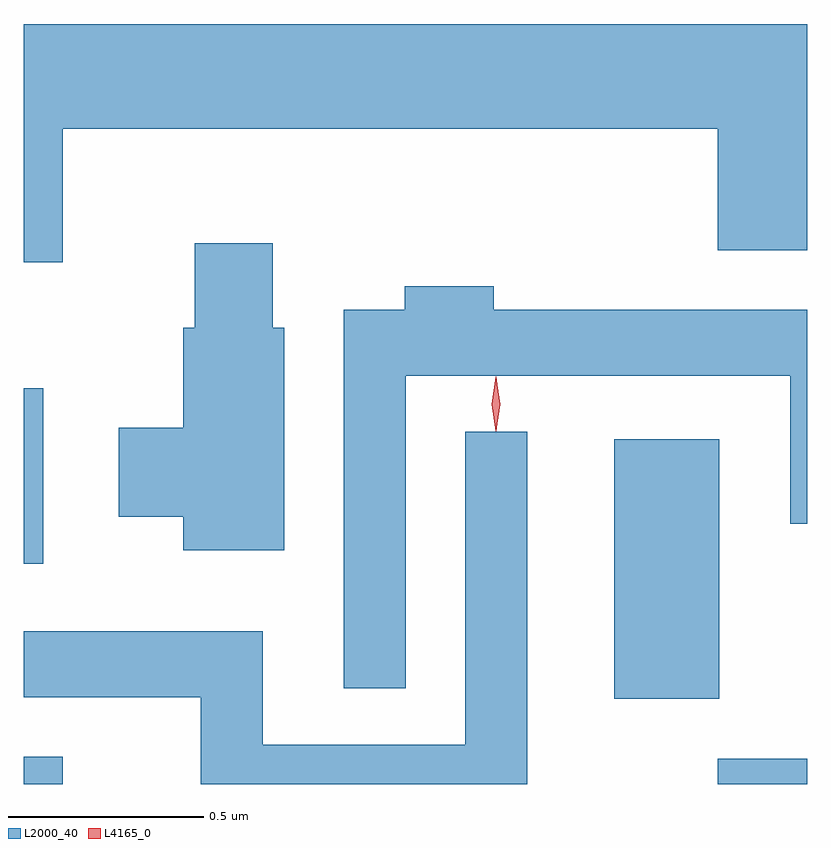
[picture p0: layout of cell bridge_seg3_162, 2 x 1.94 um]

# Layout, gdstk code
import gdstk
lib = gdstk.Library(unit=1e-6, precision=1e-09)
def R(c, l, rs):  # rectangles x0, y0, x1, y1
    for r in rs: c.add(gdstk.rectangle(r[:2], r[2:], *l))
def P(c, l, *ps):  # polygons
    for p in ps: c.add(gdstk.Polygon(p, *l))
L2000_40 = (2000, 40)
L4165_0 = (4165, 0)

bridge_seg3_162 = lib.new_cell('bridge_seg3_162')
R(bridge_seg3_162, L2000_40, [(907.129,1199.824,907.229,1199.894), (908.901,1199.824,909.129,1199.889), (908.636,1200.041,908.904,1200.704), (907.129,1200.386,907.179,1200.834)])
P(bridge_seg3_162, L2000_40, [(907.229,1201.496),(908.901,1201.496),(908.901,1201.186),(909.129,1201.186),(909.129,1201.764),(907.129,1201.764),(907.129,1201.156),(907.229,1201.156)],
  [(907.794,1200.989),(907.764,1200.989),(907.764,1201.204),(907.566,1201.204),(907.566,1200.989),(907.536,1200.989),(907.536,1200.734),(907.371,1200.734),(907.371,1200.506),(907.536,1200.506),(907.536,1200.421),(907.794,1200.421)],
  [(908.104,1200.866),(909.086,1200.866),(909.086,1200.488),(909.129,1200.488),(909.129,1201.034),(908.329,1201.034),(908.329,1201.094),(908.101,1201.094),(908.101,1201.034),(907.946,1201.034),(907.946,1200.068),(908.104,1200.068)],
  [(908.414,1200.723),(908.256,1200.723),(908.256,1199.924),(907.739,1199.924),(907.739,1200.214),(907.129,1200.214),(907.129,1200.046),(907.581,1200.046),(907.581,1199.824),(908.414,1199.824)])
P(bridge_seg3_162, L4165_0, [(908.334,1200.724),(908.334,1200.724),(908.324,1200.793),(908.334,1200.863),(908.334,1200.863),(908.335,1200.863),(908.344,1200.793),(908.335,1200.724)],
  [(908.334,1200.727),(908.325,1200.794),(908.334,1200.86),(908.335,1200.861),(908.335,1200.86),(908.345,1200.794),(908.335,1200.727),(908.335,1200.727)])

lib.write_gds('bridge_seg3_162.gds')
